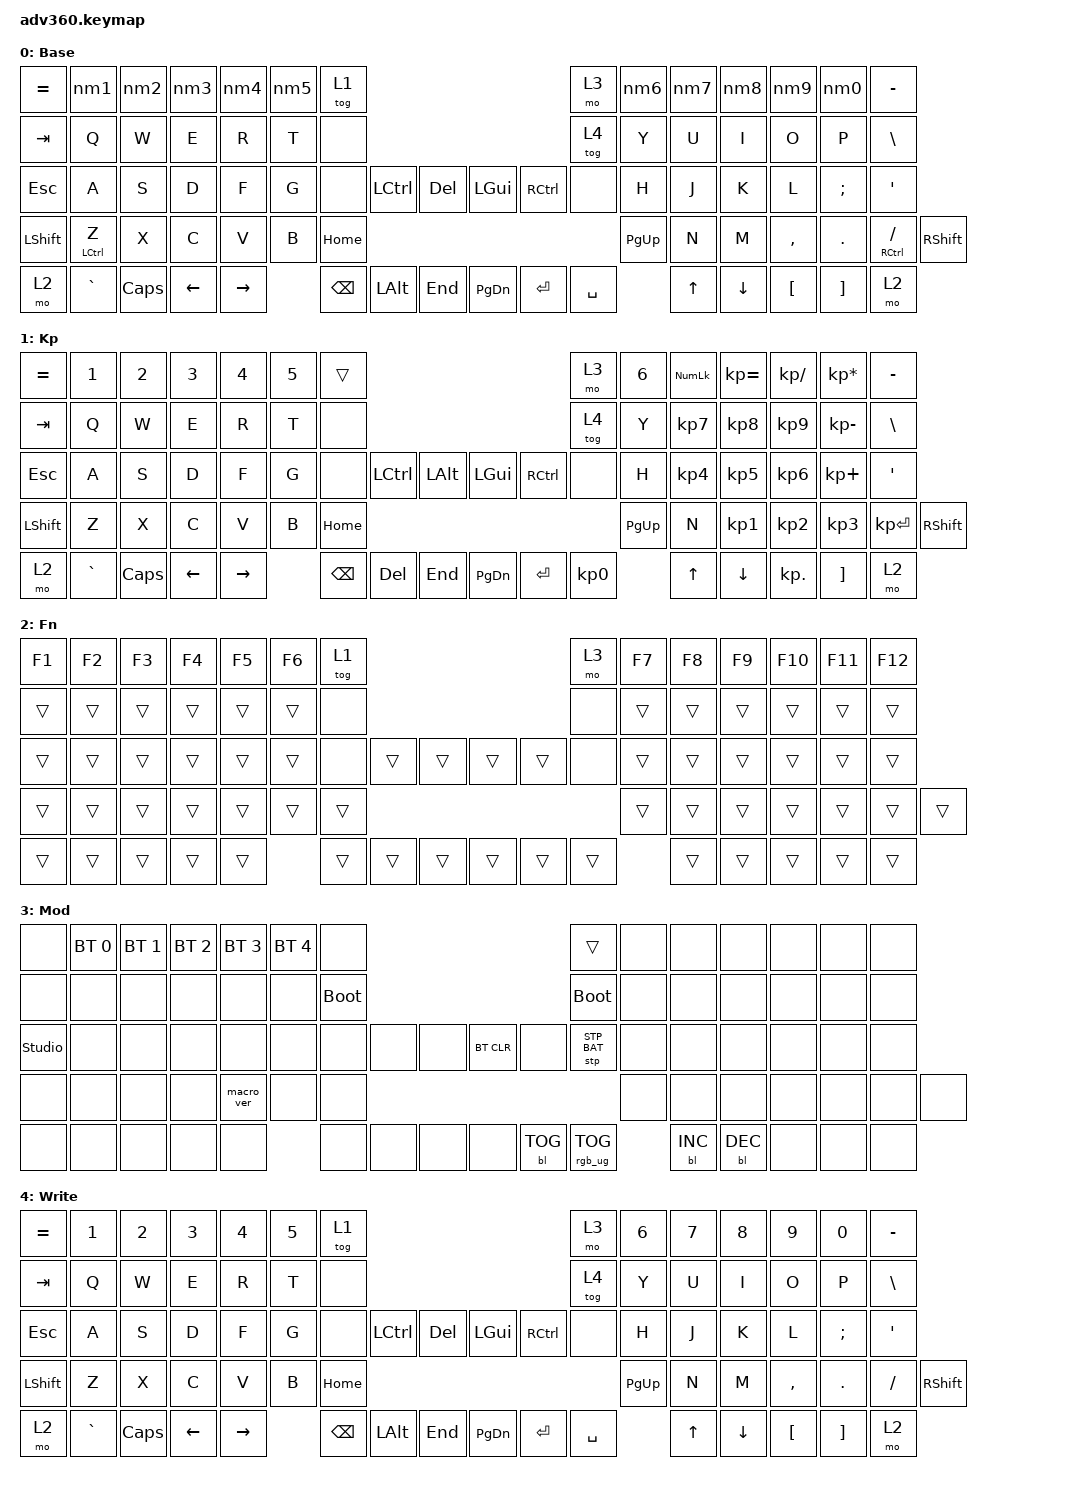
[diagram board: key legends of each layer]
#include <dt-bindings/zmk/stp.h>
#include <behaviors.dtsi>
#include <dt-bindings/zmk/backlight.h>
#include <dt-bindings/zmk/bt.h>
#include <dt-bindings/zmk/keys.h>
#include <dt-bindings/zmk/modifiers.h>
#include <dt-bindings/zmk/rgb.h>

/ {
    behaviors {
        #include "macros.dtsi"
      #include "version.dtsi"

        hm: homerow_mods {
            compatible = "zmk,behavior-hold-tap";
            label = "HOMEROW_MODS";
            #binding-cells = <2>;
            tapping-term-ms = <200>;
            quick_tap_ms = <175>;
            flavor = "tap-preferred";
            bindings = <&kp>, <&kp>;
        };

        nm1: num_morph_1 {
            compatible = "zmk,behavior-mod-morph";
            #binding-cells = <0>;
            bindings = <&kp LS(N1)>, <&kp N1>;
            mods = <(MOD_LSFT | MOD_RSFT)>;
        };
        nm2: num_morph_2 {
            compatible = "zmk,behavior-mod-morph";
            #binding-cells = <0>;
            bindings = <&kp LS(N2)>, <&kp N2>;
            mods = <(MOD_LSFT | MOD_RSFT)>;
        };
        nm3: num_morph_3 {
            compatible = "zmk,behavior-mod-morph";
            #binding-cells = <0>;
            bindings = <&kp LS(N3)>, <&kp N3>;
            mods = <(MOD_LSFT | MOD_RSFT)>;
        };
        nm4: num_morph_4 {
            compatible = "zmk,behavior-mod-morph";
            #binding-cells = <0>;
            bindings = <&kp LS(N4)>, <&kp N4>;
            mods = <(MOD_LSFT | MOD_RSFT)>;
        };
        nm5: num_morph_5 {
            compatible = "zmk,behavior-mod-morph";
            #binding-cells = <0>;
            bindings = <&kp LS(N5)>, <&kp N5>;
            mods = <(MOD_LSFT | MOD_RSFT)>;
        };
        nm6: num_morph_6 {
            compatible = "zmk,behavior-mod-morph";
            #binding-cells = <0>;
            bindings = <&kp LS(N6)>, <&kp N6>;
            mods = <(MOD_LSFT | MOD_RSFT)>;
        };
        nm7: num_morph_7 {
            compatible = "zmk,behavior-mod-morph";
            #binding-cells = <0>;
            bindings = <&kp LS(N7)>, <&kp N7>;
            mods = <(MOD_LSFT | MOD_RSFT)>;
        };
        nm8: num_morph_8 {
            compatible = "zmk,behavior-mod-morph";
            #binding-cells = <0>;
            bindings = <&kp LS(N8)>, <&kp N8>;
            mods = <(MOD_LSFT | MOD_RSFT)>;
        };
        nm9: num_morph_9 {
            compatible = "zmk,behavior-mod-morph";
            #binding-cells = <0>;
            bindings = <&kp LS(N9)>, <&kp N9>;
            mods = <(MOD_LSFT | MOD_RSFT)>;
        };
        nm0: num_morph_0 {
            compatible = "zmk,behavior-mod-morph";
            #binding-cells = <0>;
            bindings = <&kp LS(N0)>, <&kp N0>;
            mods = <(MOD_LSFT | MOD_RSFT)>;
        };
    };

    keymap {
        compatible = "zmk,keymap";

        default_layer {
            display-name = "Base";
            bindings = <
&kp EQUAL  &nm1       &nm2      &nm3      &nm4       &nm5    &tog 1                                                             &mo 3      &nm6      &nm7      &nm8      &nm9      &nm0      &kp MINUS
&kp TAB    &kp Q      &kp W     &kp E     &kp R      &kp T   &none                                                              &tog 4      &kp Y   &kp U   &kp I      &kp O     &kp P     &kp BSLH
&kp ESC    &kp A      &kp S     &kp D     &kp F      &kp G   &none          &kp LCTRL     &kp DELETE      &kp LGUI   &kp RCTRL  &none      &kp H   &kp J   &kp K      &kp L     &kp SEMI  &kp SQT
&kp LSHFT  &hm LCTRL Z  &kp X     &kp C     &kp V      &kp B                                &kp HOME        &kp PG_UP                        &kp N   &kp M   &kp COMMA  &kp DOT   &hm RCTRL FSLH  &kp RSHFT
&mo 2      &kp GRAVE  &kp CAPS  &kp LEFT  &kp RIGHT          &kp BACKSPACE  &kp LEFT_ALT  &kp END         &kp PG_DN  &kp ENTER  &kp SPACE          &kp UP  &kp DOWN   &kp LBKT  &kp RBKT  &mo 2
            >;
        };

        keypad {
            display-name = "Kp";
            bindings = <
&kp EQUAL  &kp N1     &kp N2    &kp N3    &kp N4     &kp N5  &trans                                                   &mo 3      &kp N6  &kp KP_NUM  &kp KP_EQUAL  &kp KP_DIVIDE  &kp KP_MULTIPLY  &kp MINUS
&kp TAB    &kp Q      &kp W     &kp E     &kp R      &kp T   &none                                                    &tog 4      &kp Y   &kp KP_N7   &kp KP_N8     &kp KP_N9      &kp KP_MINUS     &kp BSLH
&kp ESC    &kp A      &kp S     &kp D     &kp F      &kp G   &none     &kp LCTRL  &kp LALT      &kp LGUI   &kp RCTRL  &none      &kp H   &kp KP_N4   &kp KP_N5     &kp KP_N6      &kp KP_PLUS      &kp SQT
&kp LSHFT  &kp Z      &kp X     &kp C     &kp V      &kp B                        &kp HOME      &kp PG_UP                        &kp N   &kp KP_N1   &kp KP_N2     &kp KP_N3      &kp KP_ENTER     &kp RSHFT
&mo 2      &kp GRAVE  &kp CAPS  &kp LEFT  &kp RIGHT          &kp BSPC  &kp DEL    &kp END       &kp PG_DN  &kp ENTER  &kp KP_N0          &kp UP      &kp DOWN      &kp KP_DOT     &kp RBKT         &mo 2
            >;
        };

        fn {
            display-name = "Fn";
            bindings = <
&kp F1  &kp F2  &kp F3  &kp F4  &kp F5  &kp F6  &tog 1                                      &mo 3   &kp F7  &kp F8  &kp F9  &kp F10  &kp F11  &kp F12
&trans  &trans  &trans  &trans  &trans  &trans  &none                                       &none   &trans  &trans  &trans  &trans   &trans   &trans
&trans  &trans  &trans  &trans  &trans  &trans  &none   &trans  &trans      &trans  &trans  &none   &trans  &trans  &trans  &trans   &trans   &trans
&trans  &trans  &trans  &trans  &trans  &trans                  &trans      &trans                  &trans  &trans  &trans  &trans   &trans   &trans
&trans  &trans  &trans  &trans  &trans          &trans  &trans  &trans      &trans  &trans  &trans          &trans  &trans  &trans   &trans   &trans
            >;
        };

        mod {
            display-name = "Mod";
            bindings = <
&none           &bt BT_SEL 0  &bt BT_SEL 1  &bt BT_SEL 2  &bt BT_SEL 3  &bt BT_SEL 4  &none                                                  &trans           &none  &none       &none       &none  &none  &none
&none           &none         &none         &none         &none         &none         &bootloader                                            &bootloader      &none  &none       &none       &none  &none  &none
&studio_unlock  &none         &none         &none         &none         &none         &none        &none  &none      &bt BT_CLR  &none       &stp STP_BAT     &none  &none       &none       &none  &none  &none
&none           &none         &none         &none         &macro_ver    &none                             &none      &none                                    &none  &none       &none       &none  &none  &none
&none           &none         &none         &none         &none                       &none        &none  &none      &none       &bl BL_TOG  &rgb_ug RGB_TOG         &bl BL_INC  &bl BL_DEC  &none  &none  &none
            >;
        };

        write {
            display-name = "Write";
            bindings = <
&kp EQUAL  &kp N1     &kp N2    &kp N3    &kp N4     &kp N5  &tog 1                                                             &mo 3      &kp N6  &kp N7  &kp N8     &kp N9    &kp N0    &kp MINUS
&kp TAB    &kp Q      &kp W     &kp E     &kp R      &kp T   &none                                                              &tog 4      &kp Y   &kp U   &kp I      &kp O     &kp P     &kp BSLH
&kp ESC    &kp A      &kp S     &kp D     &kp F      &kp G   &none          &kp LCTRL     &kp DELETE      &kp LGUI   &kp RCTRL  &none      &kp H   &kp J   &kp K      &kp L     &kp SEMI  &kp SQT
&kp LSHFT  &kp Z      &kp X     &kp C     &kp V      &kp B                                &kp HOME        &kp PG_UP                        &kp N   &kp M   &kp COMMA  &kp DOT   &kp FSLH  &kp RSHFT
&mo 2      &kp GRAVE  &kp CAPS  &kp LEFT  &kp RIGHT          &kp BACKSPACE  &kp LEFT_ALT  &kp END         &kp PG_DN  &kp ENTER  &kp SPACE          &kp UP  &kp DOWN   &kp LBKT  &kp RBKT  &mo 2
            >;
        };

        extra1 {
            display-name = "Red";
            status = "reserved";
        };

        extra2 {
            display-name = "Purple";
            status = "reserved";
        };

        extra3 {
            display-name = "Cyan";
            status = "reserved";
        };

        extra4 {
            display-name = "Yellow";
            status = "reserved";
        };
    };
};
